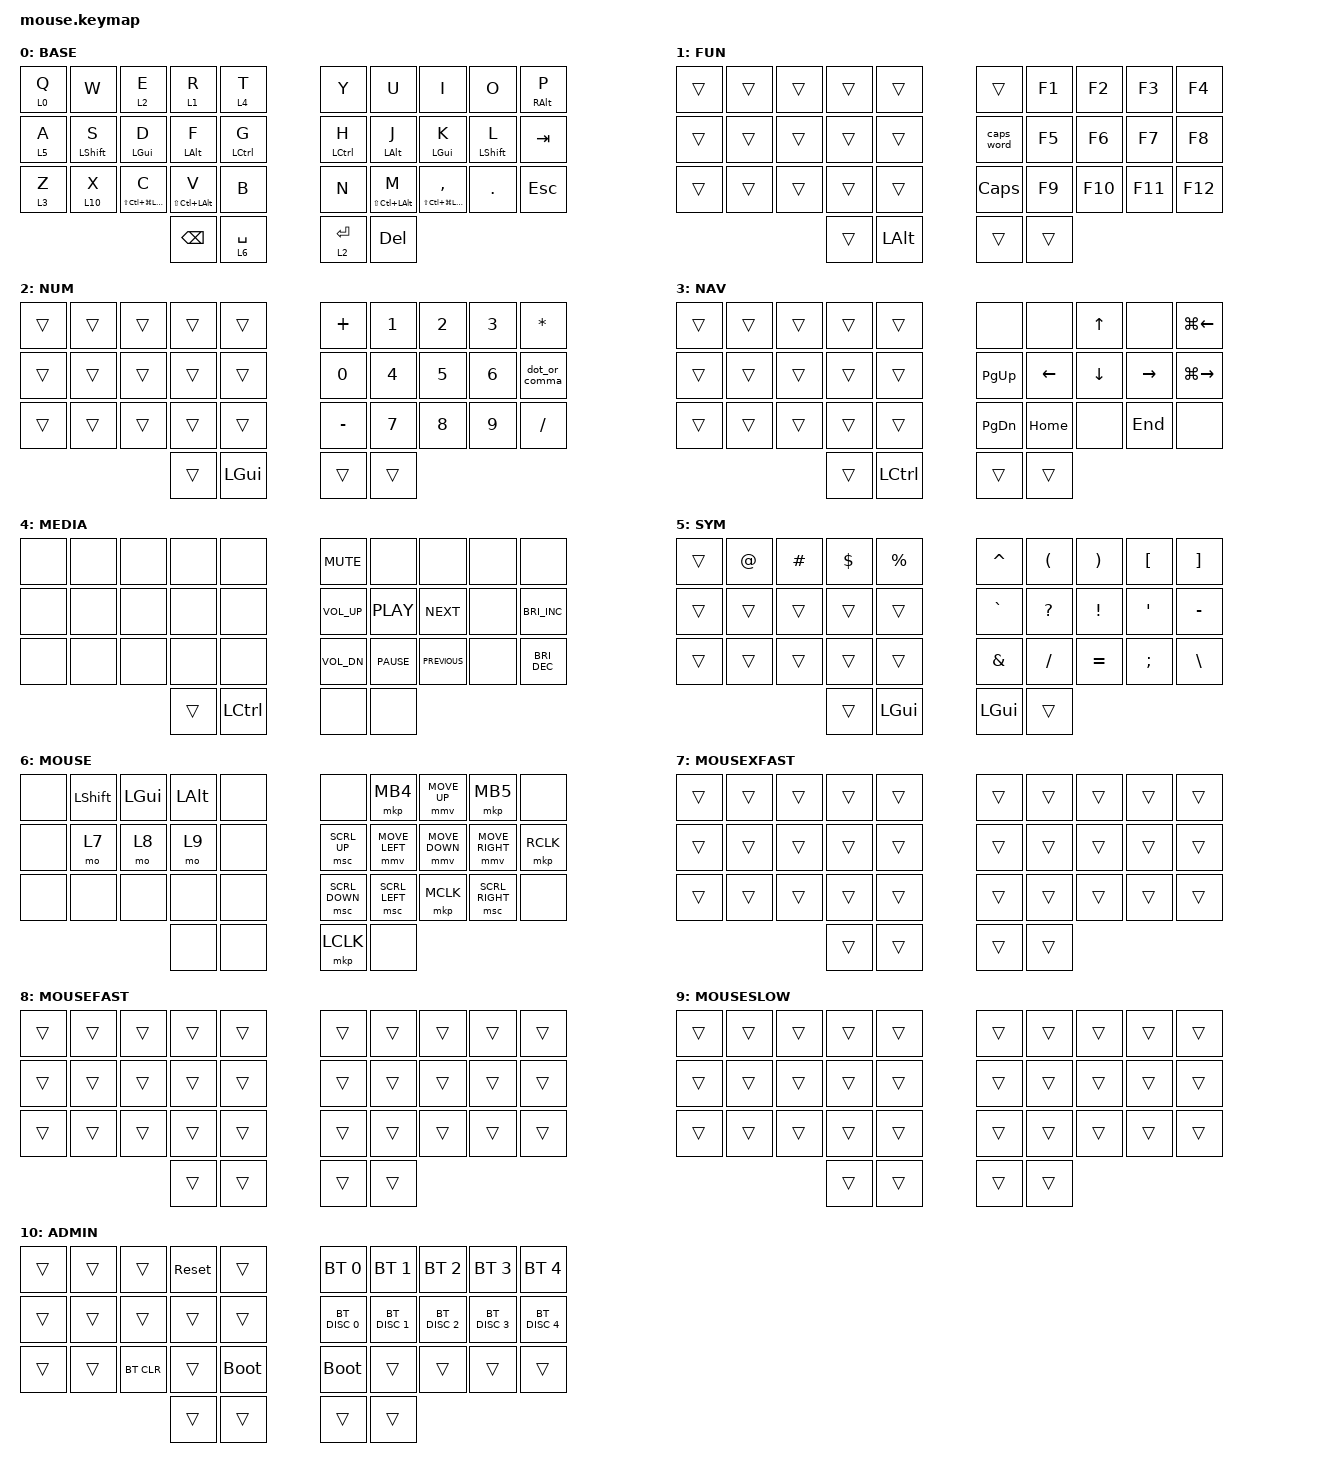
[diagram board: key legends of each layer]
#include <input/processors.dtsi>
#include <behaviors.dtsi>
#include <dt-bindings/zmk/bt.h>
#include <dt-bindings/zmk/keys.h>
#include <dt-bindings/zmk/pointing.h>

// #define ZMK_POINTING_DEFAULT_MOVE_VAL 1000  // default: 600

#define ZMK_POINTING_DEFAULT_SCRL_VAL 50       // default: 10

// Layer aliases

#define BASE 0
#define FUN 1
#define NUM 2
#define NAV 3
#define MEDIA 4
#define SYM 5
#define MOUSE 6
#define MOUSEXFAST 7
#define MOUSEFAST 8
#define MOUSESLOW 9

// &mmv {
//     time-to-max-speed-ms = <120>;
//     acceleration-exponent = <6>;
// };

&msc {
    time-to-max-speed-ms = <180>;
    acceleration-exponent = <2>;
};

&mmv_input_listener {
    set_mouse_fast {
        layers = <MOUSEXFAST>;
        input-processors = <&zip_xy_scaler 4 1>;
        process-next;
    };
};

&msc_input_listener {
    set_mouse_fast {
        layers = <MOUSEXFAST>;
        input-processors = <&zip_xy_scaler 4 1>;
    };
};

&mmv_input_listener {
    set_mouse_slow {
        layers = <MOUSEFAST>;
        input-processors = <&zip_xy_scaler 2 1>;
    };
};

&mmv_input_listener {
    set_mouse_extra_slow {
        layers = <MOUSESLOW>;
        input-processors = <&zip_xy_scaler 1 2>;
    };
};

&mt {
    flavor = "balanced";
    tapping-term-ms = <150>;
};

&lt {
    flavor = "balanced";
    tapping-term-ms = <150>;
};

/ {
    behaviors {
        dot_or_comma: dot_or_comma {
            compatible = "zmk,behavior-tap-dance";
            label = "DOT_OR_COMMA";
            #binding-cells = <0>;
            bindings = <&kp PERIOD>, <&kp COMMA>;
        };
    };

    keymap {
        compatible = "zmk,keymap";

        BASE {
            bindings = <
&lt 0 Q  &kp W             &lt 2 E                     &lt 1 R                 &lt 4 T               &kp Y               &kp U                   &kp I                           &kp O             &mt RIGHT_ALT P
&lt 5 A  &mt LEFT_SHIFT S  &mt LEFT_GUI D              &mt LEFT_ALT F          &mt LEFT_CONTROL G    &mt LEFT_CONTROL H  &mt LEFT_ALT J          &mt LEFT_GUI K                  &mt LEFT_SHIFT L  &kp TAB
&lt 3 Z  &lt 10 X          &mt LS(LC(LG(LEFT_ALT))) C  &mt LS(LC(LEFT_ALT)) V  &kp B                 &kp N               &mt LS(LC(LEFT_ALT)) M  &mt LS(LC(LG(LEFT_ALT))) COMMA  &kp DOT           &kp ESC
                                                       &kp BACKSPACE           &lt 6 SPACE           &lt 2 RETURN        &kp DELETE
            >;
        };

        FUN {
            bindings = <
&trans  &trans  &trans  &trans  &trans          &trans        &kp F1  &kp F2   &kp F3   &kp F4
&trans  &trans  &trans  &trans  &trans          &caps_word    &kp F5  &kp F6   &kp F7   &kp F8
&trans  &trans  &trans  &trans  &trans          &kp CAPSLOCK  &kp F9  &kp F10  &kp F11  &kp F12
                        &trans  &kp LEFT_ALT    &trans        &trans
            >;
        };

        NUM {
            bindings = <
&trans  &trans  &trans  &trans  &trans          &kp PLUS   &kp N1  &kp N2  &kp N3  &kp ASTERISK
&trans  &trans  &trans  &trans  &trans          &kp N0     &kp N4  &kp N5  &kp N6  &dot_or_comma
&trans  &trans  &trans  &trans  &trans          &kp MINUS  &kp N7  &kp N8  &kp N9  &kp SLASH
                        &trans  &kp LEFT_GUI    &trans     &trans
            >;
        };

        NAV {
            bindings = <
&trans  &trans  &trans  &trans  &trans       &none          &none     &kp UP_ARROW    &none            &kp LG(LEFT_ARROW)
&trans  &trans  &trans  &trans  &trans       &kp PAGE_UP    &kp LEFT  &kp DOWN_ARROW  &kp RIGHT_ARROW  &kp LG(RIGHT)
&trans  &trans  &trans  &trans  &trans       &kp PAGE_DOWN  &kp HOME  &none           &kp END          &none
                        &trans  &kp LCTRL    &trans         &trans
            >;
        };

        MEDIA {
            bindings = <
&none  &none  &none  &none   &none        &kp K_MUTE       &none        &none           &none  &none
&none  &none  &none  &none   &none        &kp C_VOLUME_UP  &kp C_PLAY   &kp C_NEXT      &none  &kp C_BRIGHTNESS_INC
&none  &none  &none  &none   &none        &kp C_VOL_DN     &kp C_PAUSE  &kp C_PREVIOUS  &none  &kp C_BRIGHTNESS_DEC
                     &trans  &kp LCTRL    &none            &none
            >;
        };

        SYM {
            bindings = <
&trans  &kp AT_SIGN  &kp HASH  &kp DOLLAR  &kp PERCENT     &kp CARET      &kp LEFT_PARENTHESIS  &kp RIGHT_PARENTHESIS  &kp LEFT_BRACKET  &kp RIGHT_BRACKET
&trans  &trans       &trans    &trans      &trans          &kp GRAVE      &kp QUESTION          &kp EXCLAMATION        &kp SQT           &kp MINUS
&trans  &trans       &trans    &trans      &trans          &kp AMPERSAND  &kp SLASH             &kp EQUAL              &kp SEMICOLON     &kp BACKSLASH
                               &trans      &kp LEFT_GUI    &kp LEFT_GUI   &trans
            >;
        };

        MOUSE {
            bindings = <
&none  &kp LEFT_SHIFT  &kp LEFT_GUI  &kp LEFT_ALT  &none    &none           &mkp MB4        &mmv MOVE_UP    &mkp MB5         &none
&none  &mo 7           &mo 8         &mo 9         &none    &msc SCRL_UP    &mmv MOVE_LEFT  &mmv MOVE_DOWN  &mmv MOVE_RIGHT  &mkp RCLK
&none  &none           &none         &none         &none    &msc SCRL_DOWN  &msc SCRL_LEFT  &mkp MCLK       &msc SCRL_RIGHT  &none
                                     &none         &none    &mkp LCLK       &none
            >;
        };

        MOUSEXFAST {
            bindings = <
&trans  &trans  &trans  &trans  &trans    &trans  &trans  &trans  &trans  &trans
&trans  &trans  &trans  &trans  &trans    &trans  &trans  &trans  &trans  &trans
&trans  &trans  &trans  &trans  &trans    &trans  &trans  &trans  &trans  &trans
                        &trans  &trans    &trans  &trans
            >;
        };

        MOUSEFAST {
            bindings = <
&trans  &trans  &trans  &trans  &trans    &trans  &trans  &trans  &trans  &trans
&trans  &trans  &trans  &trans  &trans    &trans  &trans  &trans  &trans  &trans
&trans  &trans  &trans  &trans  &trans    &trans  &trans  &trans  &trans  &trans
                        &trans  &trans    &trans  &trans
            >;
        };

        MOUSESLOW {
            bindings = <
&trans  &trans  &trans  &trans  &trans    &trans  &trans  &trans  &trans  &trans
&trans  &trans  &trans  &trans  &trans    &trans  &trans  &trans  &trans  &trans
&trans  &trans  &trans  &trans  &trans    &trans  &trans  &trans  &trans  &trans
                        &trans  &trans    &trans  &trans
            >;
        };

        ADMIN {
            bindings = <
&trans  &trans  &trans      &sys_reset  &trans         &bt BT_SEL 0   &bt BT_SEL 1   &bt BT_SEL 2   &bt BT_SEL 3   &bt BT_SEL 4
&trans  &trans  &trans      &trans      &trans         &bt BT_DISC 0  &bt BT_DISC 1  &bt BT_DISC 2  &bt BT_DISC 3  &bt BT_DISC 4
&trans  &trans  &bt BT_CLR  &trans      &bootloader    &bootloader    &trans         &trans         &trans         &trans
                            &trans      &trans         &trans         &trans
            >;
        };
    };
};
